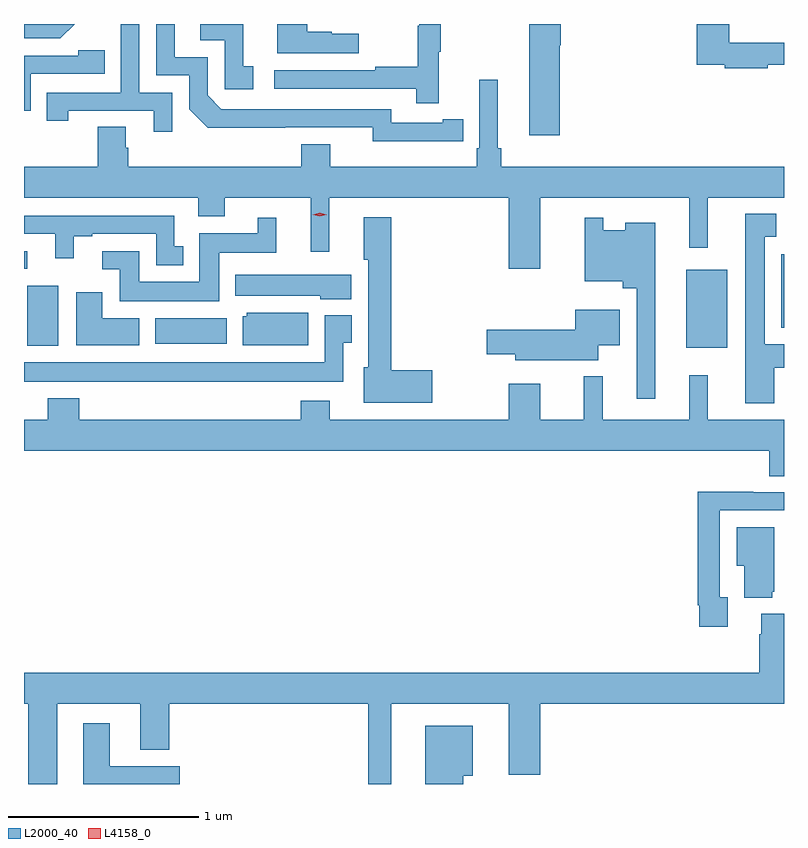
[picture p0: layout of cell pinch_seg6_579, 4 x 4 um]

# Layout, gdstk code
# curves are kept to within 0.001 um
import gdstk
lib = gdstk.Library(unit=1e-6, precision=1e-09)
def R(c, l, rs):  # rectangles x0, y0, x1, y1
    for r in rs: c.add(gdstk.rectangle(r[:2], r[2:], *l))
def P(c, l, *ps):  # polygons
    for p in ps: c.add(gdstk.Polygon(p, *l))
L2000_40 = (2000, 40)
L4158_0 = (4158, 0)

pinch_seg6_579 = lib.new_cell('pinch_seg6_579')
R(pinch_seg6_579, L2000_40, [(537.569,961.199,537.784,961.609), (534.101,961.208,534.265,961.525), (534.776,961.22,535.15,961.354), (538.07,961.304,538.084,961.69), (534.084,961.614,534.1,961.707)])
P(pinch_seg6_579, L2000_40, [(536.288,962.286),(536.396,962.286),(536.396,962.402),(536.288,962.402),(536.288,962.382),(536.016,962.382),(536.016,962.454),(535.122,962.454),(535.05,962.526),(535.05,962.727),(534.877,962.727),(534.877,962.902),(534.78,962.902),(534.78,962.631),(534.954,962.631),(534.954,962.454),(535.052,962.357),(535.92,962.358),(535.92,962.285)],
  [(535.846,962.851),(535.703,962.851),(535.703,962.861),(535.576,962.861),(535.576,962.902),(535.418,962.902),(535.418,962.747),(535.846,962.747)],
  [(534.864,962.541),(534.69,962.541),(534.69,962.902),(534.594,962.902),(534.594,962.541),(534.205,962.541),(534.205,962.394),(534.316,962.394),(534.316,962.445),(534.767,962.445),(534.767,962.334),(534.864,962.334)],
  [(534.352,962.902),(534.084,962.902),(534.084,962.826),(534.276,962.826)],
  [(536.903,962.79),(536.908,962.79),(536.908,962.902),(536.744,962.902),(536.744,962.316),(536.903,962.316)],
  [(537.998,962.688),(538.084,962.688),(538.084,962.804),(537.796,962.804),(537.796,962.902),(537.626,962.902),(537.626,962.688),(537.772,962.688),(537.772,962.668),(537.998,962.668)],
  [(536.267,962.755),(536.278,962.755),(536.278,962.902),(536.164,962.902),(536.164,962.892),(536.157,962.892),(536.157,962.678),(535.933,962.678),(535.933,962.658),(535.401,962.658),(535.401,962.562),(536.149,962.562),(536.149,962.484),(536.267,962.484)],
  [(535.291,962.679),(535.238,962.679),(535.238,962.902),(535.011,962.902),(535.011,962.817),(535.14,962.817),(535.14,962.559),(535.291,962.559)],
  [(534.12,962.64),(534.509,962.64),(534.509,962.763),(534.369,962.763),(534.369,962.736),(534.084,962.736),(534.084,962.445),(534.12,962.445)],
  [(536.8,961.988),(537.584,961.988),(537.584,961.725),(537.683,961.725),(537.683,961.988),(538.084,961.988),(538.084,962.152),(536.597,962.152),(536.597,962.248),(536.578,962.248),(536.578,962.608),(536.481,962.608),(536.481,962.248),(536.468,962.248),(536.468,962.152),(535.696,962.152),(535.696,962.269),(535.544,962.269),(535.544,962.152),(534.632,962.152),(534.632,962.25),(534.619,962.25),(534.619,962.36),(534.472,962.36),(534.472,962.152),(534.084,962.152),(534.084,961.988),(535.001,961.988),(535.001,961.889),(535.141,961.889),(535.141,961.988),(535.592,961.988),(535.592,961.704),(535.691,961.704),(535.691,961.988),(536.636,961.988),(536.636,961.614),(536.8,961.614)],
  [(538.033,961.094),(538.084,961.094),(538.084,961.216),(537.982,961.216),(537.982,961.783),(538.042,961.783),(538.042,961.903),(537.881,961.903),(537.881,960.906),(538.033,960.906)],
  [(534.922,961.731),(534.876,961.731),(534.876,961.893),(534.084,961.893),(534.084,961.797),(534.248,961.797),(534.248,961.668),(534.346,961.668),(534.346,961.785),(534.442,961.785),(534.442,961.797),(534.78,961.797),(534.78,961.631),(534.922,961.631)],
  [(536.233,961.079),(536.018,961.079),(536.018,961.885),(535.871,961.885),(535.871,961.662),(535.895,961.662),(535.895,961.095),(535.871,961.095),(535.871,960.908),(536.233,960.908)],
  [(537.406,961.855),(537.248,961.855),(537.248,961.816),(537.132,961.816),(537.132,961.882),(537.036,961.882),(537.036,961.547),(537.236,961.547),(537.236,961.511),(537.309,961.511),(537.309,960.93),(537.406,960.93)],
  [(535.111,961.697),(535.412,961.697),(535.412,961.882),(535.313,961.882),(535.313,961.801),(535.007,961.801),(535.007,961.546),(534.691,961.546),(534.691,961.707),(534.495,961.707),(534.495,961.611),(534.587,961.611),(534.587,961.442),(535.111,961.442)],
  [(535.807,961.582),(535.196,961.582),(535.196,961.472),(535.644,961.472),(535.644,961.454),(535.807,961.454)],
  [(534.691,961.354),(534.496,961.354),(534.496,961.489),(534.359,961.489),(534.359,961.211),(534.691,961.211)],
  [(537.106,961.211),(537.22,961.211),(537.22,961.399),(536.984,961.399),(536.984,961.293),(536.52,961.293),(536.52,961.163),(536.669,961.163),(536.669,961.133),(537.106,961.133)],
  [(535.579,961.381),(535.257,961.381),(535.257,961.365),(535.235,961.365),(535.235,961.211),(535.579,961.211)],
  [(535.765,961.225),(535.81,961.225),(535.81,961.369),(535.668,961.369),(535.668,961.123),(534.084,961.123),(534.084,961.019),(535.765,961.019)],
  [(538.084,960.82),(537.683,960.82),(537.683,961.054),(537.584,961.054),(537.584,960.82),(537.131,960.82),(537.131,961.048),(537.031,961.048),(537.031,960.82),(536.8,960.82),(536.8,961.009),(536.636,961.009),(536.636,960.82),(535.693,960.82),(535.693,960.919),(535.541,960.919),(535.541,960.82),(534.374,960.82),(534.374,960.931),(534.209,960.931),(534.209,960.82),(534.084,960.82),(534.084,960.656),(538.007,960.656),(538.007,960.523),(538.084,960.523)],
  [(537.787,959.886),(537.747,959.886),(537.747,960.342),(538.084,960.342),(538.084,960.438),(537.923,960.438),(537.923,960.44),(537.631,960.44),(537.631,959.842),(537.639,959.842),(537.639,959.73),(537.787,959.73)],
  [(538.022,959.913),(538.033,959.913),(538.033,960.253),(537.836,960.253),(537.836,960.05),(537.875,960.05),(537.875,959.882),(538.022,959.882)],
  [(534.259,959.324),(534.695,959.324),(534.695,959.081),(534.848,959.081),(534.848,959.324),(535.896,959.324),(535.896,958.902),(536.017,958.902),(536.017,959.324),(536.636,959.324),(536.636,958.95),(536.8,958.95),(536.8,959.324),(538.084,959.324),(538.084,959.797),(537.965,959.797),(537.965,959.69),(537.953,959.69),(537.953,959.488),(534.084,959.488),(534.084,959.324),(534.107,959.324),(534.107,958.902),(534.259,958.902)],
  [(534.905,958.996),(534.535,958.996),(534.535,959.221),(534.395,959.221),(534.395,958.902),(534.905,958.902)],
  [(536.395,958.946),(536.446,958.946),(536.446,959.209),(536.195,959.209),(536.195,958.902),(536.395,958.902)])
P(pinch_seg6_579, L4158_0, [(535.641,961.889),(535.605,961.899),(535.605,961.899),(535.605,961.899),(535.641,961.909),(535.677,961.898),(535.677,961.898),(535.677,961.898)])

lib.write_gds('pinch_seg6_579.gds')
